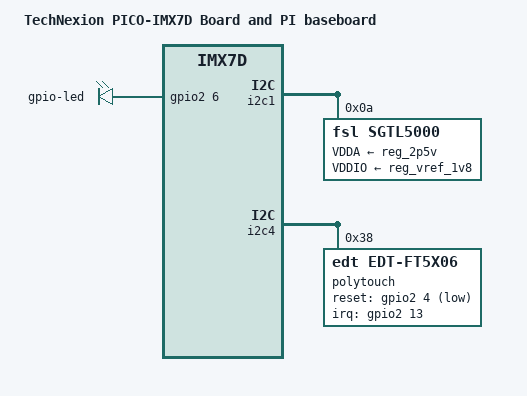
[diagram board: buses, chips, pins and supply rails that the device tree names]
// SPDX-License-Identifier: (GPL-2.0+ OR MIT)
//
// Copyright 2017 NXP

#include "imx7d-pico.dtsi"

/ {
	model = "TechNexion PICO-IMX7D Board and PI baseboard";
	compatible = "technexion,imx7d-pico-pi", "fsl,imx7d";

	leds {
		compatible = "gpio-leds";
		pinctrl-names = "default";
		pinctrl-0 = <&pinctrl_gpio_leds>;

		led {
			label = "gpio-led";
			gpios = <&gpio2 6 GPIO_ACTIVE_HIGH>;
		};
	};

	sound {
		compatible = "simple-audio-card";
		simple-audio-card,name = "imx7-sgtl5000";
		simple-audio-card,format = "i2s";
		simple-audio-card,bitclock-master = <&dailink_master>;
		simple-audio-card,frame-master = <&dailink_master>;
		simple-audio-card,cpu {
			sound-dai = <&sai1>;
		};

		dailink_master: simple-audio-card,codec {
			sound-dai = <&sgtl5000>;
			clocks = <&clks IMX7D_AUDIO_MCLK_ROOT_DIV>;
		};
	};
};

&i2c1 {
	sgtl5000: codec@a {
		#sound-dai-cells = <0>;
		reg = <0x0a>;
		compatible = "fsl,sgtl5000";
		clocks = <&clks IMX7D_AUDIO_MCLK_ROOT_DIV>;
		VDDA-supply = <&reg_2p5v>;
		VDDIO-supply = <&reg_vref_1v8>;
	};
};

&i2c4 {
	polytouch: touchscreen@38 {
		compatible = "edt,edt-ft5x06";
		reg = <0x38>;
		pinctrl-names = "default";
		pinctrl-0 = <&pinctrl_touchscreen>;
		interrupt-parent = <&gpio2>;
		interrupts = <13 IRQ_TYPE_EDGE_FALLING>;
		reset-gpios = <&gpio2 4 GPIO_ACTIVE_LOW>;
		touchscreen-size-x = <800>;
		touchscreen-size-y = <480>;
	};
};

&iomuxc {
	pinctrl-names = "default";
	pinctrl-0 = <&pinctrl_hog>;

	pinctrl_hog: hoggrp {
		fsl,pins = <
			MX7D_PAD_EPDC_DATA00__GPIO2_IO0		0x14
			MX7D_PAD_EPDC_DATA01__GPIO2_IO1		0x14
			MX7D_PAD_EPDC_DATA02__GPIO2_IO2		0x14
			MX7D_PAD_EPDC_DATA03__GPIO2_IO3		0x14
			MX7D_PAD_EPDC_DATA05__GPIO2_IO5		0x14
			MX7D_PAD_EPDC_DATA12__GPIO2_IO12	0x14
			MX7D_PAD_EPDC_DATA07__GPIO2_IO7		0x14
		>;
	};

	pinctrl_gpio_leds: gpioledsgrp {
		fsl,pins = <
			MX7D_PAD_EPDC_DATA06__GPIO2_IO6		0x14
		>;
	};

	pinctrl_touchscreen: touchscreengrp {
		fsl,pins = <
			MX7D_PAD_EPDC_DATA04__GPIO2_IO4		0x14
			MX7D_PAD_EPDC_DATA13__GPIO2_IO13	0x14
		>;
	};

};
